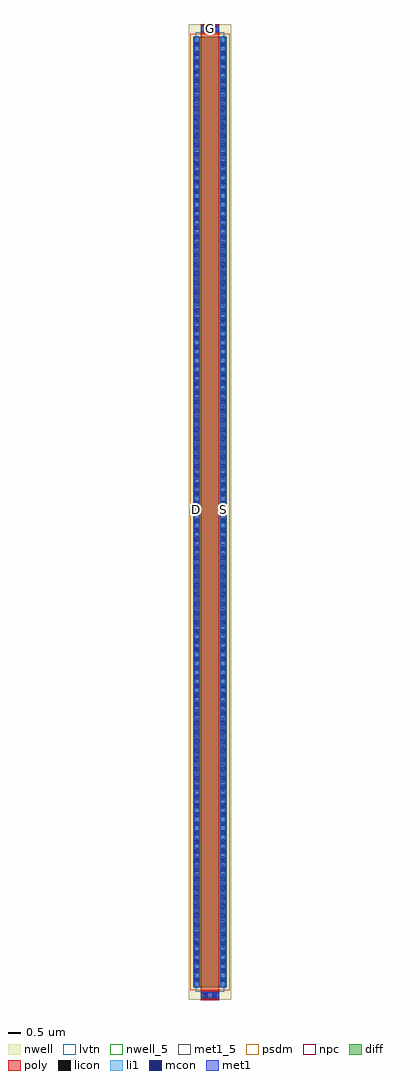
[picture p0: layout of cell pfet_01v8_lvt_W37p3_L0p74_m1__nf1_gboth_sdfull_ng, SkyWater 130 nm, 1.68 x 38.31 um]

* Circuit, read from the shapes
.subckt pfet_01v8_lvt_W37p3_L0p74_m1__nf1_gboth_sdfull_ng B D G S
XM1 S G D B sky130_fd_pr__pfet_01v8_lvt w=37.3 l=0.74
.ends

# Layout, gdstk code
import gdstk
lib = gdstk.Library(unit=1e-6, precision=1e-09)
def R(c, l, rs):  # rectangles x0, y0, x1, y1
    for r in rs: c.add(gdstk.rectangle(r[:2], r[2:], *l))
def A(c, l, x, y, w, h, nx, ny, dx, dy):  # array of equal rectangles
    R(c, l, [(x+i*dx, y+j*dy, x+i*dx+w, y+j*dy+h) for i in range(nx) for j in range(ny)])
nwell_5 = (64, 5)
nwell = (64, 20)
diff = (65, 20)
poly = (66, 20)
licon = (66, 44)
li1 = (67, 20)
mcon = (67, 44)
met1_5 = (68, 5)
met1 = (68, 20)
psdm = (94, 20)
npc = (95, 20)
lvtn = (125, 44)

sky130_fd_pr__pfet_01v8_ = lib.new_cell('sky130_fd_pr__pfet_01v8_lvt_7X2UK9')
R(sky130_fd_pr__pfet_01v8_, nwell, [(-0.84,-19.15,0.84,19.15)])
R(sky130_fd_pr__pfet_01v8_, diff, [(-0.66,-18.65,0.66,18.65)])
R(sky130_fd_pr__pfet_01v8_, poly, [(-0.37,-19.135,0.37,19.135)])
A(sky130_fd_pr__pfet_01v8_, licon, -0.6, -18.445, 0.17, 0.17, 1, 109, 0, 0.34)
A(sky130_fd_pr__pfet_01v8_, licon, 0.43, -18.445, 0.17, 0.17, 1, 109, 0, 0.34)
R(sky130_fd_pr__pfet_01v8_, licon, [(-0.255,-19.055,-0.085,-18.885), (0.085,-19.055,0.255,-18.885), (-0.255,18.885,-0.085,19.055), (0.085,18.885,0.255,19.055)])
R(sky130_fd_pr__pfet_01v8_, li1, [(-0.37,-19.055,0.37,-18.885), (-0.6,-18.67,-0.43,18.67), (0.43,-18.67,0.6,18.67), (-0.37,18.885,0.37,19.055)])
A(sky130_fd_pr__pfet_01v8_, mcon, -0.6, -18.445, 0.17, 0.17, 1, 103, 0, 0.36)
A(sky130_fd_pr__pfet_01v8_, mcon, 0.43, -18.445, 0.17, 0.17, 1, 103, 0, 0.36)
R(sky130_fd_pr__pfet_01v8_, mcon, [(-0.265,-19.055,-0.095,-18.885), (0.095,-19.055,0.265,-18.885), (-0.265,18.885,-0.095,19.055), (0.095,18.885,0.265,19.055)])
R(sky130_fd_pr__pfet_01v8_, met1, [(-0.35,-19.085,0.35,-18.855), (-0.63,-18.65,-0.4,18.65), (0.4,-18.65,0.63,18.65), (-0.35,18.855,0.35,19.085)])
R(sky130_fd_pr__pfet_01v8_, psdm, [(-0.785,-18.775,0.785,18.775)])
R(sky130_fd_pr__pfet_01v8_, npc, [(-0.355,-19.155,0.355,-18.785), (-0.355,18.785,0.355,19.155)])
R(sky130_fd_pr__pfet_01v8_, lvtn, [(-0.55,-18.83,0.55,18.83)])
sky130_fd_pr__pfet_01v8_.add(gdstk.Label('D', (-0.515,0), layer=67, texttype=5))
sky130_fd_pr__pfet_01v8_.add(gdstk.Label('S', (0.515,0), layer=67, texttype=5))
sky130_fd_pr__pfet_01v8_.add(gdstk.Label('G', (0,18.97), layer=67, texttype=5))

pfet_01v8_lvt_w37p3_l0p7 = lib.new_cell('pfet_01v8_lvt_W37p3_L0p74_m1__nf1_gboth_sdfull_ng')
R(pfet_01v8_lvt_w37p3_l0p7, nwell_5, [(0.05,19.1,0.15,19.2)])
R(pfet_01v8_lvt_w37p3_l0p7, nwell, [(0.05,19.1,0.15,19.2)])
R(pfet_01v8_lvt_w37p3_l0p7, met1_5, [(0.21,19.15,0.44,19.35), (1.24,19.15,1.47,19.35), (0.49,38.005,1.19,38.235)])
R(pfet_01v8_lvt_w37p3_l0p7, met1, [(0.21,19.15,0.44,19.35), (1.24,19.15,1.47,19.35), (0.49,38.005,1.19,38.235)])
pfet_01v8_lvt_w37p3_l0p7.add(gdstk.Reference(sky130_fd_pr__pfet_01v8_, (0.84,19.15)))
pfet_01v8_lvt_w37p3_l0p7.add(gdstk.Label('D', (0.325,19.25), layer=68, texttype=5))
pfet_01v8_lvt_w37p3_l0p7.add(gdstk.Label('S', (1.355,19.25), layer=68, texttype=5))
pfet_01v8_lvt_w37p3_l0p7.add(gdstk.Label('G', (0.84,38.12), layer=68, texttype=5))
pfet_01v8_lvt_w37p3_l0p7.add(gdstk.Label('B', (0.1,19.15), layer=64, texttype=5))

lib.write_gds('pfet_01v8_lvt_W37p3_L0p74_m1__nf1_gboth_sdfull_ng.gds')
